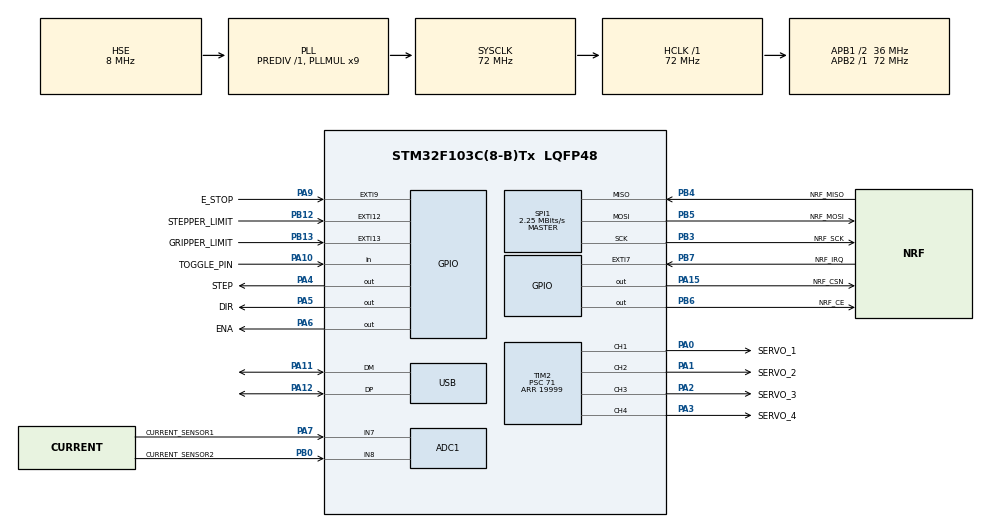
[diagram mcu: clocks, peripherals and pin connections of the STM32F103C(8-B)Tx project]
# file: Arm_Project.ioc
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ADC1.Channel-1\#ChannelRegularConversion=ADC_CHANNEL_7
ADC1.ContinuousConvMode=ENABLE
ADC1.NbrOfConversion=1
ADC1.NbrOfConversionFlag=1
ADC1.Rank-1\#ChannelRegularConversion=1
ADC1.SamplingTime-1\#ChannelRegularConversion=ADC_SAMPLETIME_55CYCLES_5
ADC1.master=1
Mcu.Family=STM32F1
Mcu.Name=STM32F103C(8-B)Tx
Mcu.Package=LQFP48
NVIC.ADC1_2_IRQn=true\:0\:0\:false\:false\:true\:true\:true\:true
NVIC.EXTI15_10_IRQn=true\:0\:0\:false\:false\:true\:true\:true\:true
NVIC.EXTI9_5_IRQn=true\:0\:0\:false\:false\:true\:true\:true\:true
NVIC.PriorityGroup=NVIC_PRIORITYGROUP_4
NVIC.SPI1_IRQn=true\:0\:0\:false\:false\:true\:true\:true\:true
NVIC.TIM3_IRQn=true\:0\:0\:false\:false\:true\:true\:true\:true
NVIC.USB_HP_CAN1_TX_IRQn=true\:0\:0\:false\:false\:true\:true\:true\:true
NVIC.USB_LP_CAN1_RX0_IRQn=true\:0\:0\:false\:false\:true\:false\:true\:true
PA0-WKUP.GPIO_Label=SERVO_1
PA0-WKUP.Signal=S_TIM2_CH1_ETR
PA1.GPIO_Label=SERVO_2
PA1.Signal=S_TIM2_CH2
PA10.GPIO_Label=TOGGLE_PIN
PA10.Signal=GPIO_Input
PA11.Mode=Device
PA11.Signal=USB_DM
PA12.Mode=Device
PA12.Signal=USB_DP
PA13.Mode=Serial_Wire
PA13.Signal=SYS_JTMS-SWDIO
PA14.Mode=Serial_Wire
PA14.Signal=SYS_JTCK-SWCLK
PA15.GPIO_Label=NRF_CSN
PA15.GPIO_Speed=GPIO_SPEED_FREQ_HIGH
PA15.Signal=GPIO_Output
PA2.GPIO_Label=SERVO_3
PA2.Signal=S_TIM2_CH3
PA3.GPIO_Label=SERVO_4
PA3.Signal=S_TIM2_CH4
PA4.GPIO_Label=STEP
PA4.Signal=GPIO_Output
PA5.GPIO_Label=DIR
PA5.Signal=GPIO_Output
PA6.GPIO_Label=ENA
PA6.Signal=GPIO_Output
PA7.GPIO_Label=CURRENT_SENSOR1
PA7.Signal=ADCx_IN7
PA9.GPIO_Label=E_STOP
PA9.Signal=GPXTI9
PB0.GPIO_Label=CURRENT_SENSOR2
PB0.Signal=ADCx_IN8
PB12.GPIO_Label=STEPPER_LIMIT
PB12.GPIO_ModeDefaultEXTI=GPIO_MODE_IT_FALLING
PB12.GPIO_PuPd=GPIO_PULLUP
PB12.Signal=GPXTI12
PB13.GPIO_Label=GRIPPER_LIMIT
PB13.GPIO_ModeDefaultEXTI=GPIO_MODE_IT_RISING
PB13.GPIO_PuPd=GPIO_PULLDOWN
PB13.Signal=GPXTI13
PB3.GPIO_Label=NRF_SCK
PB3.Mode=Full_Duplex_Master
PB3.Signal=SPI1_SCK
PB4.GPIO_Label=NRF_MISO
PB4.Mode=Full_Duplex_Master
PB4.Signal=SPI1_MISO
PB5.GPIO_Label=NRF_MOSI
PB5.Mode=Full_Duplex_Master
PB5.Signal=SPI1_MOSI
PB6.GPIO_Label=NRF_CE
PB6.GPIO_Speed=GPIO_SPEED_FREQ_HIGH
PB6.Signal=GPIO_Output
PB7.GPIO_Label=NRF_IRQ 
PB7.GPIO_ModeDefaultEXTI=GPIO_MODE_IT_FALLING
PB7.Signal=GPXTI7
PD0-OSC_IN.Mode=HSE-External-Oscillator
PD0-OSC_IN.Signal=RCC_OSC_IN
PD1-OSC_OUT.Mode=HSE-External-Oscillator
PD1-OSC_OUT.Signal=RCC_OSC_OUT
ProjectManager.HeapSize=0x200
ProjectManager.StackSize=0x400
ProjectManager.TargetToolchain=STM32CubeIDE
RCC.ADCPresc=RCC_ADCPCLK2_DIV6
RCC.AHBFreq_Value=72000000
RCC.APB1CLKDivider=RCC_HCLK_DIV2
RCC.APB1Freq_Value=36000000
RCC.APB1TimFreq_Value=72000000
RCC.APB2Freq_Value=72000000
RCC.APB2TimFreq_Value=72000000
RCC.HCLKFreq_Value=72000000
RCC.PLLMUL=RCC_PLL_MUL9
RCC.PLLSourceVirtual=RCC_PLLSOURCE_HSE
RCC.SYSCLKFreq_VALUE=72000000
RCC.SYSCLKSource=RCC_SYSCLKSOURCE_PLLCLK
RCC.USBFreq_Value=48000000
RCC.USBPrescaler=RCC_USBCLKSOURCE_PLL_DIV1_5
SH.ADCx_IN7.0=ADC1_IN7,IN7
SH.ADCx_IN8.0=ADC1_IN8,IN8
SH.S_TIM2_CH1_ETR.0=TIM2_CH1,PWM Generation1 CH1
SH.S_TIM2_CH2.0=TIM2_CH2,PWM Generation2 CH2
SH.S_TIM2_CH3.0=TIM2_CH3,PWM Generation3 CH3
SH.S_TIM2_CH4.0=TIM2_CH4,PWM Generation4 CH4
SPI1.BaudRatePrescaler=SPI_BAUDRATEPRESCALER_32
SPI1.CalculateBaudRate=2.25 MBits/s
SPI1.Direction=SPI_DIRECTION_2LINES
SPI1.Mode=SPI_MODE_MASTER
SPI1.VirtualType=VM_MASTER
TIM1.Prescaler=71
TIM2.AutoReloadPreload=TIM_AUTORELOAD_PRELOAD_ENABLE
TIM2.Channel-PWM\ Generation1\ CH1=TIM_CHANNEL_1
TIM2.Channel-PWM\ Generation2\ CH2=TIM_CHANNEL_2
TIM2.Channel-PWM\ Generation3\ CH3=TIM_CHANNEL_3
TIM2.Channel-PWM\ Generation4\ CH4=TIM_CHANNEL_4
TIM2.Period=19999
TIM2.Prescaler=71
TIM2.Pulse-PWM\ Generation1\ CH1=1500
TIM2.Pulse-PWM\ Generation2\ CH2=1500
TIM2.Pulse-PWM\ Generation3\ CH3=1500
TIM2.Pulse-PWM\ Generation4\ CH4=1500
TIM3.AutoReloadPreload=TIM_AUTORELOAD_PRELOAD_ENABLE
TIM3.Period=999
TIM3.Prescaler=71
USB_DEVICE.CLASS_NAME_FS=CDC
USB_DEVICE.VirtualMode=Cdc
USB_DEVICE.VirtualModeFS=Cdc_FS
VP_TIM1_VS_ClockSourceINT.Mode=Internal
VP_TIM2_VS_ClockSourceINT.Mode=Internal
VP_TIM3_VS_ClockSourceINT.Mode=Internal
VP_USB_DEVICE_VS_USB_DEVICE_CDC_FS.Mode=CDC_FS
board=custom

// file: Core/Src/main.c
/* USER CODE BEGIN Header */
/**
  ******************************************************************************
  * @file           : main.c
  * @brief          : Robot Arm Controller — Dual-mode USB CDC (NO STEPPER)
  *
  * SERVO MAPPING (FIXED):
  *   Servo 1 (PA3) = Joint 2  (TIM2 CH4) — Pi IK "deg2"
  *   Servo 2 (PA2) = Joint 3  (TIM2 CH3) — Pi IK "deg3"
  *   Servo 3 (PA1) = Tilt     (TIM2 CH2)
  *   Servo 4 (PA0) = Gripper  (TIM2 CH1)
  *
  * ASCII MODE KEYS:
  *   1 = Servo 1 (Joint 2)
  *   2 = Servo 2 (Joint 3)
  *   3 = Servo 3 (Tilt)
  *   4 = Servo 4 (Gripper)
  *
  * HEARTBEAT: Sends 0x48 ('H') to Pi every HEARTBEAT_INTERVAL_MS
  ******************************************************************************
  */
/* USER CODE END Header */

#include "main.h"
#include "usb_device.h"

/* USER CODE BEGIN Includes */
#include "servo.h"
#include "limit_switch.h"
#include "usbd_cdc_if.h"
#include <string.h>
#include <stdio.h>
/* USER CODE END Includes */

/* USER CODE BEGIN PTD */
typedef enum {
	MODE_AUTO   = 0,
	MODE_PACKET = 1,
	MODE_ASCII  = 2,
} CommMode_t;

typedef enum {
	PKT_WAIT_FF  = 0,
	PKT_WAIT_AA,
	PKT_CMD,
	PKT_B1,
	PKT_B2,
	PKT_B3,
	PKT_B4,
	PKT_CHECKSUM,
} PktState_t;

typedef enum {
	SEL_NONE    = 0,
	SEL_SERVO1  = 1,   /* Joint 2 — PA3 — key '1' */
	SEL_SERVO2  = 2,   /* Joint 3 — PA2 — key '2' */
	SEL_SERVO3  = 3,   /* Tilt    — PA1 — key '3' */
	SEL_SERVO4  = 4,   /* Gripper — PA0 — key '4' */
} MotorSel_t;
/* USER CODE END PTD */

/* USER CODE BEGIN PD */

/* ── Servo angle limits (per servo) ─────────────────────────────────────── */
#define SERVO1_MIN_DEG              0U    /* Joint 2 */
#define SERVO1_MAX_DEG              180U
#define SERVO2_MIN_DEG              0U    /* Joint 3 */
#define SERVO2_MAX_DEG              180U
#define SERVO3_MIN_DEG              0U    /* Tilt */
#define SERVO3_MAX_DEG              60U
#define SERVO4_MIN_DEG              0U    /* Gripper */
#define SERVO4_MAX_DEG              180U

/* ── Packet-mode specific limits ────────────────────────────────────────── */
#define TILT_SERVO_MAX_DEG          60U
#define GRIPPER_CLOSE_DEG           150U
#define GRIPPER_OPEN_DEG            0U

/* ── ASCII mode step size ───────────────────────────────────────────────── */
#define SERVO_STEP_DEG              5U

/* ── Packet framing ─────────────────────────────────────────────────────── */
#define PKT_HDR1                    0xFFU
#define PKT_HDR2                    0xAAU

/* ── USB / timing ───────────────────────────────────────────────────────── */
#define USB_RX_BUF_SIZE             64U
#define STATUS_PRINT_INTERVAL_MS    500U
#define MODE_RESET_TIMEOUT_MS       10000U

/* ── Heartbeat ──────────────────────────────────────────────────────────── */
#define HEARTBEAT_INTERVAL_MS       3000U   /* Change this to adjust heartbeat rate */
#define HEARTBEAT_CHAR              'H'     /* Character sent to Pi */

/* USER CODE END PD */

ADC_HandleTypeDef hadc1;
SPI_HandleTypeDef hspi1;
TIM_HandleTypeDef htim1;
TIM_HandleTypeDef htim2;
TIM_HandleTypeDef htim3;

/* USER CODE BEGIN PV */

/* ── Servo handles ──────────────────────────────────────────────────────── */
/* NOTE: Hardware mapping is set here — do NOT change the .channel assignments */
static Servo_Handle_t servo1;   /* Joint 2  TIM2 CH4  PA3 */
static Servo_Handle_t servo2;   /* Joint 3  TIM2 CH3  PA2 */
static Servo_Handle_t servo3;   /* Tilt     TIM2 CH2  PA1 */
static Servo_Handle_t servo4;   /* Gripper  TIM2 CH1  PA0 */

/* ── Communication mode ─────────────────────────────────────────────────── */
static volatile CommMode_t comm_mode  = MODE_AUTO;
static volatile uint32_t   last_rx_tick = 0U;

/* ── Packet parser state ────────────────────────────────────────────────── */
static PktState_t pkt_state = PKT_WAIT_FF;
static uint8_t    pkt_cmd   = 0U;
static uint8_t    pkt_b[4]  = {0U};

/* ── ASCII motor selection ──────────────────────────────────────────────── */
static volatile MotorSel_t selected_motor = SEL_NONE;

/* ── E-stop ─────────────────────────────────────────────────────────────── */
static volatile uint8_t estop_active = 0U;

/* ── Gripper limit notification latch ───────────────────────────────────── */
static uint8_t gripper_notified = 0U;

/* ── USB receive buffer (ISR → main-loop handoff) ───────────────────────── */
static volatile uint8_t  usb_rx_buf[USB_RX_BUF_SIZE];
static volatile uint32_t usb_rx_len   = 0U;
static volatile uint8_t  usb_rx_ready = 0U;

/* ── Shared snprintf scratch buffer ─────────────────────────────────────── */
static char dbg[256];

/* ── Timestamps ─────────────────────────────────────────────────────────── */
static uint32_t last_status_tick   = 0U;
static uint32_t last_heartbeat_tick = 0U;

/* ── Print guard (prevents recursive App_Print calls) ───────────────────── */
static volatile uint8_t printing = 0U;

/* USER CODE END PV */

void SystemClock_Config(void);
static void MX_GPIO_Init(void);
static void MX_ADC1_Init(void);
static void MX_SPI1_Init(void);
static void MX_TIM1_Init(void);
static void MX_TIM2_Init(void);
static void MX_TIM3_Init(void);

/* USER CODE BEGIN PFP */
static void App_Print(const char *msg);
static void App_Servos_Init(void);
static void App_ProcessUSB(void);
static void App_PrintStatus(void);
static void App_SendHeartbeat(void);

/* Packet-mode helpers */
static void App_ParseByte_Packet(uint8_t byte);
static void App_DispatchPacket(uint8_t cmd, uint8_t b1, uint8_t b2, uint8_t b3, uint8_t b4);

/* ASCII-mode helpers */
static void App_ParseByte_ASCII(uint8_t byte);
static void App_PrintMenu(void);
static void App_ExitMotor(void);
static void App_HandleR(void);
static void App_HandleL(void);

/* Servo helper */
static void App_ServoMoveR(Servo_Handle_t *srv, uint8_t min_deg, uint8_t max_deg, const char *name);
static void App_ServoMoveL(Servo_Handle_t *srv, uint8_t min_deg, uint8_t max_deg, const char *name);
/* USER CODE END PFP */

/* USER CODE BEGIN 0 */

/* ══════════════════════════════════════════════════════════════════════════
 *  Safe USB print — timeout-based, no HAL_Delay
 * ══════════════════════════════════════════════════════════════════════════ */
static void App_Print(const char *msg)
{
	uint16_t len = (uint16_t)strlen(msg);
	if (len == 0U || printing) return;

	printing = 1U;
	uint32_t timeout = HAL_GetTick() + 100U;

	while (CDC_Transmit_FS((uint8_t *)msg, len) == USBD_BUSY)
	{
		if (HAL_GetTick() > timeout) break;
	}
	printing = 0U;
}

/* ══════════════════════════════════════════════════════════════════════════
 *  Send single-byte heartbeat to Pi
 * ══════════════════════════════════════════════════════════════════════════ */
static void App_SendHeartbeat(void)
{
	uint8_t hb = HEARTBEAT_CHAR;
	CDC_Transmit_FS(&hb, 1U);
}

/* ══════════════════════════════════════════════════════════════════════════
 *  Servo initialisation
 * ══════════════════════════════════════════════════════════════════════════ */
static void App_Servos_Init(void)
{
	/* Servo 1 — Joint 2 (TIM2 CH4 / PA3) */
	servo1.htim = &htim2; servo1.channel = TIM_CHANNEL_4;
	servo1.min_pulse_us = 500U; servo1.max_pulse_us = 2500U;
	servo1.min_angle = SERVO1_MIN_DEG; servo1.max_angle = SERVO1_MAX_DEG;
	Servo_Init(&servo1);
	Servo_SetAngle(&servo1, 0U);  /* Joint 2 home = 0° */

	/* Servo 2 — Joint 3 (TIM2 CH3 / PA2) */
	servo2.htim = &htim2; servo2.channel = TIM_CHANNEL_3;
	servo2.min_pulse_us = 500U; servo2.max_pulse_us = 2500U;
	servo2.min_angle = SERVO2_MIN_DEG; servo2.max_angle = SERVO2_MAX_DEG;
	Servo_Init(&servo2);
	Servo_SetAngle(&servo2, 180U);   /* Joint 3 home = 180° */

	/* Servo 3 — Tilt (TIM2 CH2 / PA1) */
	servo3.htim = &htim2; servo3.channel = TIM_CHANNEL_2;
	servo3.min_pulse_us = 500U; servo3.max_pulse_us = 2500U;
	servo3.min_angle = SERVO3_MIN_DEG; servo3.max_angle = SERVO3_MAX_DEG;
	Servo_Init(&servo3);
	Servo_SetAngle(&servo3,SERVO3_MAX_DEG);   /* Tilt home = 60° */

	/* Servo 4 — Gripper (TIM2 CH1 / PA0) */
	servo4.htim = &htim2; servo4.channel = TIM_CHANNEL_1;
	servo4.min_pulse_us = 500U; servo4.max_pulse_us = 2500U;
	servo4.min_angle = SERVO4_MIN_DEG; servo4.max_angle = SERVO4_MAX_DEG;
	Servo_Init(&servo4);
	Servo_SetAngle(&servo4, GRIPPER_OPEN_DEG);

	App_Print("[INIT] Servos ready. J2=90 J3=0 Tilt=0 Grip=open\r\n");
}

/* ══════════════════════════════════════════════════════════════════════════
 *  Servo R/L helpers (reduce code duplication)
 * ══════════════════════════════════════════════════════════════════════════ */
static void App_ServoMoveR(Servo_Handle_t *srv, uint8_t min_deg, uint8_t max_deg, const char *name)
{
	uint8_t a = Servo_GetAngle(srv);
	a = (a + SERVO_STEP_DEG <= max_deg) ? (a + SERVO_STEP_DEG) : max_deg;
	Servo_SetAngle(srv, a);
	snprintf(dbg, sizeof(dbg), "[%s] %u deg\r\n", name, a);
	App_Print(dbg);
}

static void App_ServoMoveL(Servo_Handle_t *srv, uint8_t min_deg, uint8_t max_deg, const char *name)
{
	uint8_t a = Servo_GetAngle(srv);
	a = (a >= min_deg + SERVO_STEP_DEG) ? (a - SERVO_STEP_DEG) : min_deg;
	Servo_SetAngle(srv, a);
	snprintf(dbg, sizeof(dbg), "[%s] %u deg\r\n", name, a);
	App_Print(dbg);
}

/* ══════════════════════════════════════════════════════════════════════════
 *  PACKET MODE — parser + dispatcher
 * ══════════════════════════════════════════════════════════════════════════ */
static void App_DispatchPacket(uint8_t cmd, uint8_t b1, uint8_t b2, uint8_t b3, uint8_t b4)
{
	if (estop_active && cmd != 'Z') return;

	switch (cmd)
	{
	/* IK angles: Joint2 (servo1/PA3) and Joint3 (servo2/PA2) */
	case 'W':
	{
		float deg_j2 = (float)(((uint16_t)b1 << 8) | b2) / 100.0f;
		float deg_j3 = (float)(((uint16_t)b3 << 8) | b4) / 100.0f;

		/* Clamp to per-servo limits */
		if (deg_j2 < (float)SERVO1_MIN_DEG) deg_j2 = (float)SERVO1_MIN_DEG;
		if (deg_j2 > (float)SERVO1_MAX_DEG) deg_j2 = (float)SERVO1_MAX_DEG;
		if (deg_j3 < (float)SERVO2_MIN_DEG) deg_j3 = (float)SERVO2_MIN_DEG;
		if (deg_j3 > (float)SERVO2_MAX_DEG) deg_j3 = (float)SERVO2_MAX_DEG;

		Servo_SetAngle(&servo1, (uint8_t)deg_j2);  /* Joint 2 */
		Servo_SetAngle(&servo2, (uint8_t)deg_j3);  /* Joint 3 */
		break;
	}

	case 'T':
		Servo_SetAngle(&servo3, TILT_SERVO_MAX_DEG);  /* Tilt up */
		break;

	case 'Y':
		Servo_SetAngle(&servo3, 0U);  /* Tilt down */
		break;

	case '1':  /* Cross press — close gripper (incremental with limit check) */
	{
		/* ── Incrementally close gripper, checking limit each step ── */
		uint8_t current_angle = Servo_GetAngle(&servo4);
		uint8_t target_angle  = GRIPPER_CLOSE_DEG;

		while (current_angle < target_angle)
		{
			/* Check limit switch BEFORE each step */
			if (gripper_cube_detected)
			{
				/* Limit triggered — stop immediately at current angle */
				snprintf(dbg, sizeof(dbg), "[GRIP] LIMIT at %u deg — stopped!\r\n", current_angle);
				App_Print(dbg);
				break;  /* Exit loop, gripper stays at current angle */
			}

			/* Increment by 2 degrees per step for smooth closing */
			current_angle += 2U;
			if (current_angle > target_angle)
				current_angle = target_angle;

			Servo_SetAngle(&servo4, current_angle);

			/* Small delay to let the servo move and the limit switch settle */
			HAL_Delay(15U);  /* 15ms per step = ~67 deg/sec */
		}

		/* If we reached target without hitting limit */
		if (!gripper_cube_detected)
		{
			snprintf(dbg, sizeof(dbg), "[GRIP] Closed → %u deg\r\n", target_angle);
			App_Print(dbg);
		}
		break;
	}

	case '2':  /* Cross release — open gripper */
		Servo_SetAngle(&servo4, GRIPPER_OPEN_DEG);
		gripper_cube_detected = 0U;
		gripper_notified = 0U;
		App_Print("[GRIP] Opened → 0 deg\r\n");
		break;

	default: break;
	}
}

static void App_ParseByte_Packet(uint8_t byte)
{
	switch (pkt_state)
	{
	case PKT_WAIT_FF:
		if (byte == PKT_HDR1) pkt_state = PKT_WAIT_AA;
		break;
	case PKT_WAIT_AA:
		pkt_state = (byte == PKT_HDR2) ? PKT_CMD : PKT_WAIT_FF;
		break;
	case PKT_CMD: pkt_cmd = byte; pkt_state = PKT_B1; break;
	case PKT_B1: pkt_b[0] = byte; pkt_state = PKT_B2; break;
	case PKT_B2: pkt_b[1] = byte; pkt_state = PKT_B3; break;
	case PKT_B3: pkt_b[2] = byte; pkt_state = PKT_B4; break;
	case PKT_B4: pkt_b[3] = byte; pkt_state = PKT_CHECKSUM; break;
	case PKT_CHECKSUM:
	{
		uint8_t exp = (uint8_t)((pkt_cmd + pkt_b[0] + pkt_b[1] + pkt_b[2] + pkt_b[3]) % 256U);
		if (byte == exp)
			App_DispatchPacket(pkt_cmd, pkt_b[0], pkt_b[1], pkt_b[2], pkt_b[3]);
		pkt_state = PKT_WAIT_FF;
		break;
	}
	default: pkt_state = PKT_WAIT_FF; break;
	}
}

/* ══════════════════════════════════════════════════════════════════════════
 *  ASCII MODE — Tera Terminal keyboard handler
 * ══════════════════════════════════════════════════════════════════════════ */
static void App_PrintMenu(void)
{
	App_Print("\r\n==========================================\r\n");
	App_Print("   ROBOT ARM TEST — Tera Terminal Control \r\n");
	App_Print("==========================================\r\n");
	App_Print("  SERVO MAPPING:\r\n");
	App_Print("    1  ->  Servo 1 (PA3) — Joint 2\r\n");
	App_Print("    2  ->  Servo 2 (PA2) — Joint 3\r\n");
	App_Print("    3  ->  Servo 3 (PA1) — Tilt\r\n");
	App_Print("    4  ->  Servo 4 (PA0) — Gripper\r\n");
	App_Print("------------------------------------------\r\n");
	App_Print("  CONTROLS (after selecting 1-4):\r\n");
	App_Print("    R  ->  +5 deg\r\n");
	App_Print("    L  ->  -5 deg\r\n");
	App_Print("------------------------------------------\r\n");
	App_Print("  E  ->  Deselect motor\r\n");
	App_Print("  M  ->  Show this menu\r\n");
	App_Print("==========================================\r\n\r\n");
}

static void App_ExitMotor(void)
{
	if (selected_motor == SEL_NONE)
	{
		App_Print("[EXIT] No motor selected.\r\n");
		return;
	}

	const char *names[] = {"", "Servo1 (Joint2)", "Servo2 (Joint3)", "Servo3 (Tilt)", "Servo4 (Gripper)"};
	snprintf(dbg, sizeof(dbg), "[EXIT] %s deselected.\r\n", names[selected_motor]);
	App_Print(dbg);
	selected_motor = SEL_NONE;
}

static void App_HandleR(void)
{
	if (estop_active) return;

	switch (selected_motor)
	{
	case SEL_SERVO1: App_ServoMoveR(&servo1, SERVO1_MIN_DEG, SERVO1_MAX_DEG, "Joint2"); break;
	case SEL_SERVO2: App_ServoMoveR(&servo2, SERVO2_MIN_DEG, SERVO2_MAX_DEG, "Joint3"); break;
	case SEL_SERVO3: App_ServoMoveR(&servo3, SERVO3_MIN_DEG, SERVO3_MAX_DEG, "Tilt");   break;

	case SEL_SERVO4:
		if (gripper_cube_detected)
		{ App_Print("[Gripper] LIMIT ACTIVE - R blocked!\r\n"); break; }
		App_ServoMoveR(&servo4, SERVO4_MIN_DEG, SERVO4_MAX_DEG, "Gripper");
		break;

	default:
		App_Print("[!] Select motor first (1-4).\r\n");
		break;
	}
}

static void App_HandleL(void)
{
	if (estop_active) return;

	switch (selected_motor)
	{
	case SEL_SERVO1: App_ServoMoveL(&servo1, SERVO1_MIN_DEG, SERVO1_MAX_DEG, "Joint2"); break;
	case SEL_SERVO2: App_ServoMoveL(&servo2, SERVO2_MIN_DEG, SERVO2_MAX_DEG, "Joint3"); break;
	case SEL_SERVO3: App_ServoMoveL(&servo3, SERVO3_MIN_DEG, SERVO3_MAX_DEG, "Tilt");   break;

	case SEL_SERVO4:
	{
		uint8_t a = Servo_GetAngle(&servo4);
		a = (a >= SERVO4_MIN_DEG + SERVO_STEP_DEG) ? (a - SERVO_STEP_DEG) : SERVO4_MIN_DEG;
		Servo_SetAngle(&servo4, a);

		if (gripper_cube_detected && a < (SERVO4_MAX_DEG - 10U))
		{
			gripper_cube_detected = 0U;
			App_Print("[Gripper] Limit cleared.\r\n");
		}
		snprintf(dbg, sizeof(dbg), "[Gripper] %u deg\r\n", a);
		App_Print(dbg);
		break;
	}

	default:
		App_Print("[!] Select motor first (1-4).\r\n");
		break;
	}
}

static void App_ParseByte_ASCII(uint8_t byte)
{
	if (byte == 0x1BU || byte == '\r' || byte == '\n') return;

	if (estop_active)
	{
		if (byte != '1' && byte != '2' && byte != '3' && byte != '4' &&
				byte != 'E' && byte != 'e' && byte != 'M' && byte != 'm')
		{
			App_Print("[!] E-STOP ACTIVE.\r\n");
			return;
		}
	}

	switch (byte)
	{
	case '1':
		selected_motor = SEL_SERVO1;
		snprintf(dbg, sizeof(dbg), "[SEL] >> Servo1 JOINT2 (PA3) | %u deg\r\n", Servo_GetAngle(&servo1));
		App_Print(dbg);
		break;

	case '2':
		selected_motor = SEL_SERVO2;
		snprintf(dbg, sizeof(dbg), "[SEL] >> Servo2 JOINT3 (PA2) | %u deg\r\n", Servo_GetAngle(&servo2));
		App_Print(dbg);
		break;

	case '3':
		selected_motor = SEL_SERVO3;
		snprintf(dbg, sizeof(dbg), "[SEL] >> Servo3 TILT (PA1) | %u deg\r\n", Servo_GetAngle(&servo3));
		App_Print(dbg);
		break;

	case '4':
		selected_motor = SEL_SERVO4;
		snprintf(dbg, sizeof(dbg), "[SEL] >> Servo4 GRIPPER (PA0) | %u deg\r\n", Servo_GetAngle(&servo4));
		App_Print(dbg);
		break;

	case 'R': case 'r': App_HandleR(); break;
	case 'L': case 'l': App_HandleL(); break;
	case 'E': case 'e': App_ExitMotor(); break;
	case 'M': case 'm': App_PrintMenu(); break;

	default: break;
	}
}

/* ══════════════════════════════════════════════════════════════════════════
 *  Top-level byte router
 * ══════════════════════════════════════════════════════════════════════════ */
static void App_RouteByte(uint8_t byte)
{
	last_rx_tick = HAL_GetTick();

	if (comm_mode == MODE_AUTO)
	{
		if (byte == PKT_HDR1)
		{
			comm_mode = MODE_PACKET;
			App_Print("[MODE] PACKET\r\n");
			App_ParseByte_Packet(byte);
		}
		else if (byte >= 0x20U && byte < 0x7FU)
		{
			comm_mode = MODE_ASCII;
			App_Print("[MODE] ASCII\r\n");
			App_PrintMenu();
			App_ParseByte_ASCII(byte);
		}
	}
	else if (comm_mode == MODE_PACKET)
	{
		App_ParseByte_Packet(byte);
	}
	else
	{
		App_ParseByte_ASCII(byte);
	}
}

/* ══════════════════════════════════════════════════════════════════════════
 *  Process USB RX buffer (main-loop context)
 * ══════════════════════════════════════════════════════════════════════════ */
static void App_ProcessUSB(void)
{
	if (usb_rx_ready)
	{
		uint32_t len = usb_rx_len;
		for (uint32_t i = 0U; i < len; i++)
			App_RouteByte(usb_rx_buf[i]);
		usb_rx_len   = 0U;
		usb_rx_ready = 0U;
	}
}

/* ══════════════════════════════════════════════════════════════════════════
 *  Periodic status (ASCII mode only)
 * ══════════════════════════════════════════════════════════════════════════ */
static void App_PrintStatus(void)
{
	if (comm_mode != MODE_ASCII) return;

	if (estop_active)
	{ App_Print("[STATUS] *** E-STOP ***\r\n"); return; }

	switch (selected_motor)
	{
	case SEL_SERVO1:
		snprintf(dbg, sizeof(dbg), "[S] Joint2 | %u deg\r\n", Servo_GetAngle(&servo1));
		App_Print(dbg);
		break;
	case SEL_SERVO2:
		snprintf(dbg, sizeof(dbg), "[S] Joint3 | %u deg\r\n", Servo_GetAngle(&servo2));
		App_Print(dbg);
		break;
	case SEL_SERVO3:
		snprintf(dbg, sizeof(dbg), "[S] Tilt | %u deg\r\n", Servo_GetAngle(&servo3));
		App_Print(dbg);
		break;
	case SEL_SERVO4:
		snprintf(dbg, sizeof(dbg), "[S] Gripper | %u deg | %s\r\n",
				Servo_GetAngle(&servo4),
				gripper_cube_detected ? "LIMIT" : "OK");
		App_Print(dbg);
		break;
	default:
		App_Print("[S] No motor selected. Press 1-4.\r\n");
		break;
	}
}

/* USER CODE END 0 */

/* ══════════════════════════════════════════════════════════════════════════
 *  main()
 * ══════════════════════════════════════════════════════════════════════════ */
int main(void)
{
	HAL_Init();
	SystemClock_Config();

	MX_GPIO_Init();
	MX_ADC1_Init();
	MX_SPI1_Init();
	MX_TIM1_Init();
	MX_TIM2_Init();
	MX_TIM3_Init();
	MX_USB_DEVICE_Init();

	HAL_Delay(800U);

	LimitSwitch_Init();
	App_Servos_Init();
	HAL_TIM_Base_Start(&htim1);

	last_status_tick    = HAL_GetTick();
	last_heartbeat_tick = HAL_GetTick();
	last_rx_tick        = HAL_GetTick();

	App_Print("[READY] Dual-mode active. Heartbeat every ");
	snprintf(dbg, sizeof(dbg), "%u ms.\r\n", HEARTBEAT_INTERVAL_MS);
	App_Print(dbg);

	while (1)
	{
		/* Mode-reset timeout */
		if (comm_mode != MODE_AUTO &&
				(HAL_GetTick() - last_rx_tick) >= MODE_RESET_TIMEOUT_MS)
		{
			comm_mode      = MODE_AUTO;
			pkt_state      = PKT_WAIT_FF;
			selected_motor = SEL_NONE;
			App_Print("[MODE] AUTO-DETECT\r\n");
		}

		App_ProcessUSB();

		/* Periodic status */
		if ((HAL_GetTick() - last_status_tick) >= STATUS_PRINT_INTERVAL_MS)
		{
			last_status_tick = HAL_GetTick();
			App_PrintStatus();
		}

		/* Heartbeat to Pi */
		if ((HAL_GetTick() - last_heartbeat_tick) >= HEARTBEAT_INTERVAL_MS)
		{
			last_heartbeat_tick = HAL_GetTick();
			App_SendHeartbeat();
			 last_rx_tick = HAL_GetTick();
		}

		/* Gripper limit */
		if (gripper_cube_detected && !gripper_notified)
		{
			gripper_notified = 1U;
			snprintf(dbg, sizeof(dbg), "[GRIP] Object at %u deg!\r\n", Servo_GetAngle(&servo4));
			App_Print(dbg);
		}
		if (!gripper_cube_detected) gripper_notified = 0U;
	}
}

/* ══════════════════════════════════════════════════════════════════════════
 *  USB CDC Callback (ISR)
 * ══════════════════════════════════════════════════════════════════════════ */
void CDC_Receive_CallBack(uint8_t *Buf, uint32_t Len)
{
	if (!usb_rx_ready && Len > 0U && Len <= USB_RX_BUF_SIZE)
	{
		for (uint32_t i = 0U; i < Len; i++)
			usb_rx_buf[i] = Buf[i];
		usb_rx_len   = Len;
		usb_rx_ready = 1U;
	}
}

/* ══════════════════════════════════════════════════════════════════════════
 *  EXTI Callback
 * ══════════════════════════════════════════════════════════════════════════ */
void HAL_GPIO_EXTI_Callback(uint16_t GPIO_Pin)
{
	if (GPIO_Pin == E_STOP_Pin)
	{
		if (HAL_GPIO_ReadPin(E_STOP_GPIO_Port, E_STOP_Pin) == GPIO_PIN_SET)
		{
			estop_active = 1U;
			HAL_TIM_PWM_Stop(&htim2, TIM_CHANNEL_1);
			HAL_TIM_PWM_Stop(&htim2, TIM_CHANNEL_2);
			HAL_TIM_PWM_Stop(&htim2, TIM_CHANNEL_3);
			HAL_TIM_PWM_Stop(&htim2, TIM_CHANNEL_4);
		}
		else
		{
			estop_active = 0U;
			HAL_TIM_PWM_Start(&htim2, TIM_CHANNEL_1);
			HAL_TIM_PWM_Start(&htim2, TIM_CHANNEL_2);
			HAL_TIM_PWM_Start(&htim2, TIM_CHANNEL_3);
			HAL_TIM_PWM_Start(&htim2, TIM_CHANNEL_4);
			Servo_SetAngle(&servo1, Servo_GetAngle(&servo1));
			Servo_SetAngle(&servo2, Servo_GetAngle(&servo2));
			Servo_SetAngle(&servo3, Servo_GetAngle(&servo3));
			Servo_SetAngle(&servo4, Servo_GetAngle(&servo4));
		}
		return;
	}
	if (GPIO_Pin == NRF_IRQ_Pin) return;
	LimitSwitch_EXTI_Callback(GPIO_Pin);
}

/* ══════════════════════════════════════════════════════════════════════════
 *  Timer Callback (kept for compatibility, TIM3 no longer used for stepper)
 * ══════════════════════════════════════════════════════════════════════════ */
void HAL_TIM_PeriodElapsedCallback(TIM_HandleTypeDef *htim)
{
	(void)htim;
}

/* ══════════════════════════════════════════════════════════════════════════
 *  System Clock & Peripheral Init
 * ══════════════════════════════════════════════════════════════════════════ */
void SystemClock_Config(void)
{
	RCC_OscInitTypeDef       RCC_OscInitStruct  = {0};
	RCC_ClkInitTypeDef       RCC_ClkInitStruct  = {0};
	RCC_PeriphCLKInitTypeDef PeriphClkInit      = {0};

	RCC_OscInitStruct.OscillatorType  = RCC_OSCILLATORTYPE_HSE;
	RCC_OscInitStruct.HSEState        = RCC_HSE_ON;
	RCC_OscInitStruct.HSEPredivValue  = RCC_HSE_PREDIV_DIV1;
	RCC_OscInitStruct.HSIState        = RCC_HSI_ON;
	RCC_OscInitStruct.PLL.PLLState    = RCC_PLL_ON;
	RCC_OscInitStruct.PLL.PLLSource   = RCC_PLLSOURCE_HSE;
	RCC_OscInitStruct.PLL.PLLMUL      = RCC_PLL_MUL9;
	if (HAL_RCC_OscConfig(&RCC_OscInitStruct) != HAL_OK) Error_Handler();

	RCC_ClkInitStruct.ClockType      = RCC_CLOCKTYPE_HCLK | RCC_CLOCKTYPE_SYSCLK
			| RCC_CLOCKTYPE_PCLK1 | RCC_CLOCKTYPE_PCLK2;
	RCC_ClkInitStruct.SYSCLKSource   = RCC_SYSCLKSOURCE_PLLCLK;
	RCC_ClkInitStruct.AHBCLKDivider  = RCC_SYSCLK_DIV1;
	RCC_ClkInitStruct.APB1CLKDivider = RCC_HCLK_DIV2;
	RCC_ClkInitStruct.APB2CLKDivider = RCC_HCLK_DIV1;
	if (HAL_RCC_ClockConfig(&RCC_ClkInitStruct, FLASH_LATENCY_2) != HAL_OK) Error_Handler();

	PeriphClkInit.PeriphClockSelection = RCC_PERIPHCLK_ADC | RCC_PERIPHCLK_USB;
	PeriphClkInit.AdcClockSelection    = RCC_ADCPCLK2_DIV6;
	PeriphClkInit.UsbClockSelection    = RCC_USBCLKSOURCE_PLL_DIV1_5;
	if (HAL_RCCEx_PeriphCLKConfig(&PeriphClkInit) != HAL_OK) Error_Handler();
}

static void MX_ADC1_Init(void)
{
	ADC_ChannelConfTypeDef sConfig = {0};
	hadc1.Instance = ADC1;
	hadc1.Init.ScanConvMode       = ADC_SCAN_DISABLE;
	hadc1.Init.ContinuousConvMode = ENABLE;
	hadc1.Init.DiscontinuousConvMode = DISABLE;
	hadc1.Init.ExternalTrigConv   = ADC_SOFTWARE_START;
	hadc1.Init.DataAlign          = ADC_DATAALIGN_RIGHT;
	hadc1.Init.NbrOfConversion    = 1;
	if (HAL_ADC_Init(&hadc1) != HAL_OK) Error_Handler();
	sConfig.Channel      = ADC_CHANNEL_7;
	sConfig.Rank         = ADC_REGULAR_RANK_1;
	sConfig.SamplingTime = ADC_SAMPLETIME_55CYCLES_5;
	if (HAL_ADC_ConfigChannel(&hadc1, &sConfig) != HAL_OK) Error_Handler();
}

static void MX_SPI1_Init(void)
{
	hspi1.Instance = SPI1;
	hspi1.Init.Mode = SPI_MODE_MASTER;
	hspi1.Init.Direction = SPI_DIRECTION_2LINES;
	hspi1.Init.DataSize = SPI_DATASIZE_8BIT;
	hspi1.Init.CLKPolarity = SPI_POLARITY_LOW;
	hspi1.Init.CLKPhase = SPI_PHASE_1EDGE;
	hspi1.Init.NSS = SPI_NSS_SOFT;
	hspi1.Init.BaudRatePrescaler = SPI_BAUDRATEPRESCALER_32;
	hspi1.Init.FirstBit = SPI_FIRSTBIT_MSB;
	hspi1.Init.TIMode = SPI_TIMODE_DISABLE;
	hspi1.Init.CRCCalculation = SPI_CRCCALCULATION_DISABLE;
	hspi1.Init.CRCPolynomial = 10;
	if (HAL_SPI_Init(&hspi1) != HAL_OK) Error_Handler();
}

static void MX_TIM1_Init(void)
{
	TIM_ClockConfigTypeDef  sClockSourceConfig = {0};
	TIM_MasterConfigTypeDef sMasterConfig      = {0};
	htim1.Instance = TIM1;
	htim1.Init.Prescaler = 71;
	htim1.Init.CounterMode = TIM_COUNTERMODE_UP;
	htim1.Init.Period = 65535;
	htim1.Init.ClockDivision = TIM_CLOCKDIVISION_DIV1;
	htim1.Init.RepetitionCounter = 0;
	htim1.Init.AutoReloadPreload = TIM_AUTORELOAD_PRELOAD_DISABLE;
	if (HAL_TIM_Base_Init(&htim1) != HAL_OK) Error_Handler();
	sClockSourceConfig.ClockSource = TIM_CLOCKSOURCE_INTERNAL;
	if (HAL_TIM_ConfigClockSource(&htim1, &sClockSourceConfig) != HAL_OK) Error_Handler();
	sMasterConfig.MasterOutputTrigger = TIM_TRGO_RESET;
	sMasterConfig.MasterSlaveMode = TIM_MASTERSLAVEMODE_DISABLE;
	if (HAL_TIMEx_MasterConfigSynchronization(&htim1, &sMasterConfig) != HAL_OK) Error_Handler();
}

static void MX_TIM2_Init(void)
{
	TIM_ClockConfigTypeDef  sClockSourceConfig = {0};
	TIM_MasterConfigTypeDef sMasterConfig      = {0};
	TIM_OC_InitTypeDef      sConfigOC          = {0};
	htim2.Instance = TIM2;
	htim2.Init.Prescaler = 71;
	htim2.Init.CounterMode = TIM_COUNTERMODE_UP;
	htim2.Init.Period = 19999;
	htim2.Init.ClockDivision = TIM_CLOCKDIVISION_DIV1;
	htim2.Init.AutoReloadPreload = TIM_AUTORELOAD_PRELOAD_ENABLE;
	if (HAL_TIM_Base_Init(&htim2) != HAL_OK) Error_Handler();
	sClockSourceConfig.ClockSource = TIM_CLOCKSOURCE_INTERNAL;
	if (HAL_TIM_ConfigClockSource(&htim2, &sClockSourceConfig) != HAL_OK) Error_Handler();
	if (HAL_TIM_PWM_Init(&htim2) != HAL_OK) Error_Handler();
	sMasterConfig.MasterOutputTrigger = TIM_TRGO_RESET;
	sMasterConfig.MasterSlaveMode = TIM_MASTERSLAVEMODE_DISABLE;
	if (HAL_TIMEx_MasterConfigSynchronization(&htim2, &sMasterConfig) != HAL_OK) Error_Handler();
	sConfigOC.OCMode = TIM_OCMODE_PWM1;
	sConfigOC.Pulse = 500U;
	sConfigOC.OCPolarity = TIM_OCPOLARITY_HIGH;
	sConfigOC.OCFastMode = TIM_OCFAST_DISABLE;
	if (HAL_TIM_PWM_ConfigChannel(&htim2, &sConfigOC, TIM_CHANNEL_1) != HAL_OK) Error_Handler();
	if (HAL_TIM_PWM_ConfigChannel(&htim2, &sConfigOC, TIM_CHANNEL_2) != HAL_OK) Error_Handler();
	if (HAL_TIM_PWM_ConfigChannel(&htim2, &sConfigOC, TIM_CHANNEL_3) != HAL_OK) Error_Handler();
	if (HAL_TIM_PWM_ConfigChannel(&htim2, &sConfigOC, TIM_CHANNEL_4) != HAL_OK) Error_Handler();
	HAL_TIM_MspPostInit(&htim2);
}

static void MX_TIM3_Init(void)
{
	TIM_ClockConfigTypeDef  sClockSourceConfig = {0};
	TIM_MasterConfigTypeDef sMasterConfig      = {0};
	htim3.Instance = TIM3;
	htim3.Init.Prescaler = 71;
	htim3.Init.CounterMode = TIM_COUNTERMODE_UP;
	htim3.Init.Period = 999;
	htim3.Init.ClockDivision = TIM_CLOCKDIVISION_DIV1;
	htim3.Init.AutoReloadPreload = TIM_AUTORELOAD_PRELOAD_ENABLE;
	if (HAL_TIM_Base_Init(&htim3) != HAL_OK) Error_Handler();
	sClockSourceConfig.ClockSource = TIM_CLOCKSOURCE_INTERNAL;
	if (HAL_TIM_ConfigClockSource(&htim3, &sClockSourceConfig) != HAL_OK) Error_Handler();
	sMasterConfig.MasterOutputTrigger = TIM_TRGO_RESET;
	sMasterConfig.MasterSlaveMode = TIM_MASTERSLAVEMODE_DISABLE;
	if (HAL_TIMEx_MasterConfigSynchronization(&htim3, &sMasterConfig) != HAL_OK) Error_Handler();
}

static void MX_GPIO_Init(void)
{
	GPIO_InitTypeDef GPIO_InitStruct = {0};

	__HAL_RCC_GPIOD_CLK_ENABLE();
	__HAL_RCC_GPIOA_CLK_ENABLE();
	__HAL_RCC_GPIOB_CLK_ENABLE();

	HAL_GPIO_WritePin(GPIOA, NRF_CSN_Pin, GPIO_PIN_RESET);
	HAL_GPIO_WritePin(NRF_CE_GPIO_Port, NRF_CE_Pin, GPIO_PIN_RESET);

	GPIO_InitStruct.Pin = NRF_CSN_Pin;
	GPIO_InitStruct.Mode = GPIO_MODE_OUTPUT_PP;
	GPIO_InitStruct.Pull = GPIO_NOPULL;
	GPIO_InitStruct.Speed = GPIO_SPEED_FREQ_HIGH;
	HAL_GPIO_Init(NRF_CSN_GPIO_Port, &GPIO_InitStruct);

	GPIO_InitStruct.Pin = NRF_CE_Pin;
	GPIO_InitStruct.Mode = GPIO_MODE_OUTPUT_PP;
	GPIO_InitStruct.Pull = GPIO_NOPULL;
	GPIO_InitStruct.Speed = GPIO_SPEED_FREQ_HIGH;
	HAL_GPIO_Init(NRF_CE_GPIO_Port, &GPIO_InitStruct);

	GPIO_InitStruct.Pin = GRIPPER_LIMIT_Pin;
	GPIO_InitStruct.Mode = GRIPPER_LIMIT_GPIO_MODE;
	GPIO_InitStruct.Pull = GRIPPER_LIMIT_GPIO_PULL;
	HAL_GPIO_Init(GRIPPER_LIMIT_GPIO_Port, &GPIO_InitStruct);

	GPIO_InitStruct.Pin = E_STOP_Pin;
	GPIO_InitStruct.Mode = GPIO_MODE_IT_RISING_FALLING;
	GPIO_InitStruct.Pull = GPIO_PULLDOWN;
	HAL_GPIO_Init(E_STOP_GPIO_Port, &GPIO_InitStruct);

	GPIO_InitStruct.Pin = TOGGLE_PIN_Pin;
	GPIO_InitStruct.Mode = GPIO_MODE_INPUT;
	GPIO_InitStruct.Pull = GPIO_NOPULL;
	HAL_GPIO_Init(TOGGLE_PIN_GPIO_Port, &GPIO_InitStruct);

	GPIO_InitStruct.Pin = NRF_IRQ_Pin;
	GPIO_InitStruct.Mode = GPIO_MODE_IT_FALLING;
	GPIO_InitStruct.Pull = GPIO_NOPULL;
	HAL_GPIO_Init(NRF_IRQ_GPIO_Port, &GPIO_InitStruct);

	HAL_NVIC_SetPriority(EXTI9_5_IRQn, 0, 0); HAL_NVIC_EnableIRQ(EXTI9_5_IRQn);
	HAL_NVIC_SetPriority(EXTI15_10_IRQn, 0, 0); HAL_NVIC_EnableIRQ(EXTI15_10_IRQn);
}

void Error_Handler(void)
{
	__disable_irq();
	while (1) {}
}
